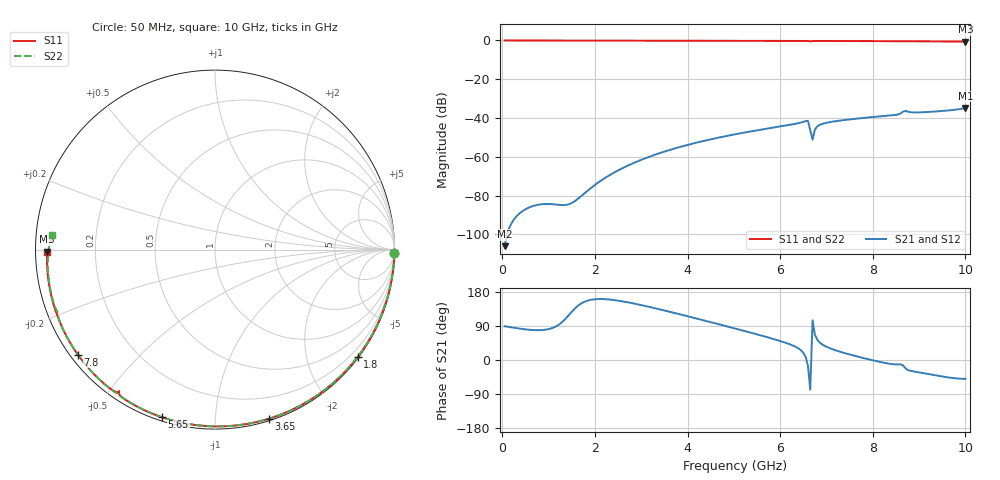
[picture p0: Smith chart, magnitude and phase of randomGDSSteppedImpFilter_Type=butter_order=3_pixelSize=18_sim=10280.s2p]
! freq	dB(S11)	phase(S11)	dB(S12)	phase(S12)
!  dB(S21)	phase(S21)	dB(S22)	phase(S22)
!S-par simulation data
#  GHz  S  DB  R 50
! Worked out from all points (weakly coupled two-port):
!   200 points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, 50 MHz to 10 GHz, reference 50 ohm
!   highest |S21| = -34.80 dB at 10 GHz (marker M1); lowest = -106.1 dB at 50 MHz (marker M2)
!   lowest |S11| = -0.6 dB at 10 GHz (marker M3), VSWR 30.08, Z = 1.66 - j0.326 ohm
!   |S11| at or under -10 dB: nowhere
!   |S22| runs from -0.8 to 0.0 dB; largest |S21 - S12| = 0
!   S11 on the Smith chart (normalised r, x): 50 MHz: open; 1.8 GHz: 0.03, -3.00; 3.65 GHz: 0.02, -1.37; 5.65 GHz: 0.02, -0.73; 7.8 GHz: 0.02, -0.34; 10 GHz: 0.03, -0.01
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0.05  -0.00 -1.1  -106.12 89.0  -106.12 89.0  -0.00 -1.0
0.85  -0.02 -17.6  -84.48 79.0  -84.48 79.0  -0.02 -17.5
1.7  -0.04 -34.9  -80.37 148.7  -80.37 148.7  -0.04 -34.6
1.75  -0.05 -35.9  -79.37 152.2  -79.37 152.2  -0.04 -35.6
1.8  -0.05 -36.9  -78.37 155.0  -78.37 155.0  -0.05 -36.6
2.15  -0.06 -43.8  -72.00 160.9  -72.00 160.9  -0.06 -43.5
2.5  -0.06 -50.6  -67.03 156.7  -67.03 156.7  -0.06 -50.3
3.4  -0.09 -67.7  -58.12 133.6  -58.12 133.6  -0.09 -67.3
3.65  -0.10 -72.4  -56.24 126.2  -56.24 126.2  -0.10 -71.9
5.05  -0.15 -97.3  -48.30 82.4  -48.30 82.4  -0.15 -96.8
5.65  -0.18 -107.5  -45.75 62.6  -45.75 62.6  -0.18 -107.1
6.6  -0.31 -123.8  -41.51 -14.6  -41.51 -14.6  -0.25 -123.2
6.7  -0.34 -124.2  -51.17 105.0  -51.17 105.0  -0.27 -124.5
6.75  -0.29 -125.2  -45.95 66.8  -45.95 66.8  -0.26 -125.4
6.85  -0.27 -127.0  -43.61 46.6  -43.61 46.6  -0.26 -127.1
7.15  -0.28 -132.0  -41.82 27.5  -41.82 27.5  -0.28 -132.1
7.8  -0.33 -142.6  -39.96 5.1  -39.96 5.1  -0.33 -143.0
8.35  -0.39 -151.6  -38.78 -9.7  -38.78 -9.7  -0.39 -152.4
8.55  -0.41 -154.8  -38.15 -11.6  -38.15 -11.6  -0.43 -156.0
8.7  -0.42 -157.2  -36.37 -21.0  -36.37 -21.0  -0.51 -158.3
9.1  -0.46 -163.9  -37.01 -35.0  -37.01 -35.0  -0.49 -165.5
10  -0.58 -179.3  -34.80 -49.7  -34.80 -49.7  -0.83 174.9
